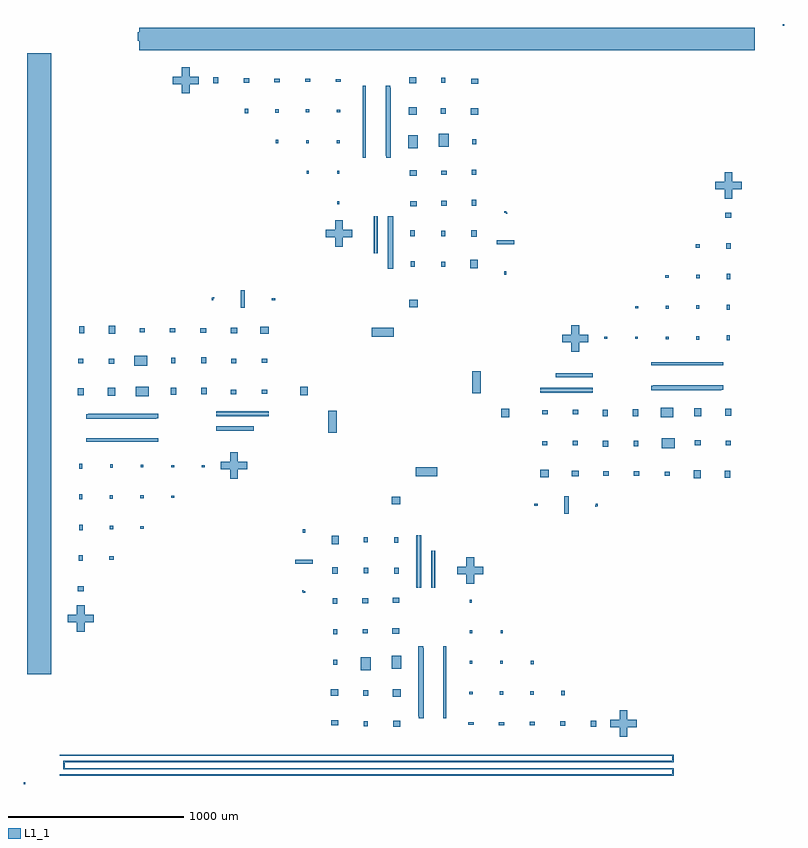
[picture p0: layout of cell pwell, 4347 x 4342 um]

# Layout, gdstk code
import gdstk
lib = gdstk.Library(unit=1e-6, precision=1e-09)
def R(c, l, rs):  # rectangles x0, y0, x1, y1
    for r in rs: c.add(gdstk.rectangle(r[:2], r[2:], *l))
def A(c, l, x, y, w, h, nx, ny, dx, dy):  # array of equal rectangles
    R(c, l, [(x+i*dx, y+j*dy, x+i*dx+w, y+j*dy+h) for i in range(nx) for j in range(ny)])
def P(c, l, *ps):  # polygons
    for p in ps: c.add(gdstk.Polygon(p, *l))
L1_1 = (1, 1)

pwell = lib.new_cell('pwell')
A(pwell, L1_1, 2244, 355, 15, 16, 1, 25, 0, 16)
A(pwell, L1_1, 2371, 355, 9, 16, 1, 25, 0, 16)
A(pwell, L1_1, 2229, 367, 15, 16, 1, 25, 0, 16)
A(pwell, L1_1, 2380, 367, 9, 16, 1, 25, 0, 16)
A(pwell, L1_1, 2216, 1100, 12, 12, 1, 25, 0, 12)
A(pwell, L1_1, 2233, 1100, 12, 12, 1, 25, 0, 12)
A(pwell, L1_1, 2316.5, 1100, 9, 8, 1, 25, 0, 8)
A(pwell, L1_1, 2302.5, 1112, 9, 8, 1, 25, 0, 8)
A(pwell, L1_1, 342, 1936, 16, 9, 25, 1, 16, 0)
A(pwell, L1_1, 330, 1945, 16, 9, 25, 1, 16, 0)
A(pwell, L1_1, 1075, 1999.5, 8, 9, 25, 1, 8, 0)
A(pwell, L1_1, 1087, 2013.5, 8, 9, 25, 1, 8, 0)
A(pwell, L1_1, 330, 2066, 16, 15, 25, 1, 16, 0)
A(pwell, L1_1, 1075, 2080, 12, 12, 25, 2, 12, 17)
A(pwell, L1_1, 342, 2081, 16, 15, 25, 1, 16, 0)
A(pwell, L1_1, 2925, 2216, 12, 12, 25, 2, 12, 17)
A(pwell, L1_1, 3558, 2229, 16, 15, 25, 1, 16, 0)
A(pwell, L1_1, 3570, 2244, 16, 15, 25, 1, 16, 0)
A(pwell, L1_1, 3013, 2302.5, 8, 9, 25, 1, 8, 0)
A(pwell, L1_1, 3025, 2316.5, 8, 9, 25, 1, 8, 0)
A(pwell, L1_1, 3570, 2371, 16, 9, 25, 1, 16, 0)
A(pwell, L1_1, 3558, 2380, 16, 9, 25, 1, 16, 0)
A(pwell, L1_1, 2055, 2925, 12, 12, 1, 25, 0, 12)
A(pwell, L1_1, 2072, 2925, 12, 12, 1, 25, 0, 12)
A(pwell, L1_1, 1988.5, 3013, 9, 8, 1, 25, 0, 8)
A(pwell, L1_1, 1974.5, 3025, 9, 8, 1, 25, 0, 8)
A(pwell, L1_1, 1911, 3558, 9, 16, 1, 25, 0, 16)
A(pwell, L1_1, 2056, 3558, 15, 16, 1, 25, 0, 16)
A(pwell, L1_1, 1920, 3570, 9, 16, 1, 25, 0, 16)
A(pwell, L1_1, 2041, 3570, 15, 16, 1, 25, 0, 16)
R(pwell, L1_1, [(-27,-20,-17,-10), (2084,307.5,2124,342.5), (3214,307.5,3244,342.5), (1916.5,310.5,1940.5,339.5), (3039,312.5,3069,337.5), (1730,315,1770,345), (2864,315,2894,335), (2689,316.5,2719,334), (2514,317.5,2544,333.5), (2232,355,2244,367), (2380,355,2389,367), (2081,479.5,2127,520.5), (1914.5,483.5,1943,517), (1728,484,1772,522), (3044,487.5,3064,512.5), (2869,490,2889,510), (2694,491,2714,508.5), (2519,492,2539,508), (-7,608,132,4155), (1898.5,631,1956,705), (2076,639,2130,712), (1741.5,660.5,1764.5,689.5), (2871.5,665,2886.5,685), (2696.5,666,2711.5,683.5), (2521.5,667,2536.5,683), (2244,755,2256,767), (2371,755,2380,767), (1741.5,834.5,1765.5,865), (2080,839,2120,870.5), (1910,841,1940,865), (2698,841,2710.5,858.5), (2523,842,2535.5,858.5), (1740,1008.5,1766.5,1041.5), (1908,1012,1942,1042), (2081.5,1014.5,2118.5,1044), (2523,1016.5,2534.5,1033.5), (282.5,1081,317.5,1111), (2302.5,1100,2311.5,1112), (1737.5,1181,1769,1219), (2091.5,1182.5,2117,1214.5), (1916.5,1185,1942,1214.5), (1525,1237.5,1625,1262.5), (287.5,1256,312.5,1286), (462.5,1261,487.5,1281), (2316.5,1300,2325.5,1312), (1732.5,1351,1774,1399), (2091.5,1357.5,2114.5,1389.5), (1916.5,1360,1939.5,1389.5), (1569,1415,1581.5,1435), (290,1431,310,1461), (465,1436,485,1456), (640,1438.5,660,1453.5), (3062.5,1525,3087.5,1625), (2890,1569,2910,1581.5), (2075.5,1578,2124.5,1622), (291.5,1606,309,1636), (466,1611,483.5,1631), (641,1613.5,658.5,1628.5), (816,1614.5,833.5,1627), (3803,1728,3841,1772), (3980,1730,4010,1770), (2926,1732.5,2974,1774), (3106,1737.5,3144,1769), (2213,1739.5,2337,1788.5), (3283.5,1740,3316.5,1766.5), (3460,1741.5,3490.5,1765.5), (3635.5,1741.5,3664.5,1764.5), (292.5,1781,308.5,1811), (467,1786,483,1806), (642,1788.5,658,1803.5), (817,1789.5,833.5,1802), (991.5,1790.5,1008.5,1802), (3620,1898.5,3694,1956), (3283,1908,3313,1942), (3460,1910,3484,1940), (3808,1914.5,3841.5,1943), (2935.5,1916.5,2965,1939.5), (3110.5,1916.5,3140,1942), (3985.5,1916.5,4014.5,1940.5), (330,1936,342,1945), (730,1945,742,1954), (1714.5,1988,1763.5,2112), (1275,1999.5,1287,2008.5), (1075,2013.5,1087,2022.5), (730,2069,742,2081), (2703,2075.5,2747,2124.5), (3613,2076,3686,2130), (3454.5,2080,3486,2120), (330,2081,342,2093), (3804.5,2081,3845.5,2127), (3281,2081.5,3310.5,2118.5), (3982.5,2084,4017.5,2124), (2935.5,2091.5,2967.5,2114.5), (3110.5,2091.5,3142.5,2117), (614,2195,687,2249), (454.5,2198,495.5,2244), (1553,2200.5,1597,2249.5), (282.5,2201,317.5,2241), (814,2205,845.5,2245), (989.5,2206.5,1019,2243.5), (1157.5,2208,1189.5,2233.5), (1332.5,2210.5,1364.5,2233.5), (2536.5,2213,2585.5,2337), (3958,2232,3970,2244), (3558,2244,3570,2256), (3213,2302.5,3225,2311.5), (3013,2316.5,3025,2325.5), (606,2369,680,2426.5), (3558,2371,3570,2380), (3958,2380,3970,2389), (458.5,2382,492,2410.5), (987,2383,1017,2417), (1160,2383,1189.5,2408.5), (285.5,2384.5,314.5,2408.5), (816,2385,840,2415), (1335,2385.5,1364.5,2408.5), (3991.5,2514,4007.5,2544), (3817,2519,3833,2539), (3642,2521.5,3658,2536.5), (3291.5,2523,3308.5,2534.5), (3466.5,2523,3483,2535.5), (1963,2536.5,2087,2585.5), (1326,2551,1374,2592.5), (459,2553,497,2597), (290,2555,320,2595), (1156,2556,1194,2587.5), (983.5,2558.5,1016.5,2585), (809.5,2559.5,840,2583.5), (635.5,2560.5,664.5,2583.5), (3991,2689,4008.5,2719), (3816.5,2694,3834,2714), (3641.5,2696.5,3659,2711.5), (3466.5,2698,3484,2710.5), (1212.5,2700,1237.5,2800), (2175.5,2703,2224.5,2747), (1390,2743.5,1410,2756), (3990,2864,4010,2894), (3815,2869,3835,2889), (3640,2871.5,3660,2886.5), (2718.5,2890,2731,2910), (2526,2926,2567.5,2974), (2185.5,2935.5,2208.5,2967.5), (2360.5,2935.5,2383.5,2965), (1974.5,3013,1983.5,3025), (3987.5,3039,4012.5,3069), (3812.5,3044,3837.5,3064), (2675,3062.5,2775,3087.5), (2531,3106,2562.5,3144), (2183,3110.5,2208.5,3142.5), (2358,3110.5,2383.5,3140), (1988.5,3213,1997.5,3225), (3982.5,3214,4017.5,3244), (2181.5,3281,2218.5,3310.5), (2358,3283,2392,3313), (2533.5,3283.5,2560,3316.5), (1765.5,3291.5,1777,3308.5), (2180,3454.5,2220,3486), (2360,3460,2390,3484), (2534.5,3460,2558.5,3490.5), (1589.5,3466.5,1602,3484), (1764.5,3466.5,1777,3483), (1920,3558,1929,3570), (2044,3558,2056,3570), (2170,3613,2224,3686), (2344,3620,2401.5,3694), (2535.5,3635.5,2558.5,3664.5), (1413.5,3640,1428.5,3660), (1588.5,3641.5,1603.5,3659), (1763.5,3642,1778.5,3658), (2528,3803,2572,3841), (2173,3804.5,2219,3845.5), (2357,3808,2385.5,3841.5), (1236,3812.5,1256,3837.5), (1411,3815,1431,3835), (1586,3816.5,1606,3834), (1761,3817,1781,3833), (1911,3958,1920,3970), (2056,3958,2068,3970), (2530,3980,2570,4010), (1056,3982.5,1086,4017.5), (2176,3982.5,2216,4017.5), (2359.5,3985.5,2383.5,4014.5), (1231,3987.5,1261,4012.5), (1406,3990,1436,4010), (1581,3991,1611,4008.5), (1756,3991.5,1786,4007.5), (4310,4312,4320,4322)])
P(pwell, L1_1, [(633,4173),(4150,4173),(4150,4302),(633,4302),(633,4275),(626.5,4275),(626.5,4225),(633,4225)],
  [(2730.5,3238.5),(2736,3238.5),(2736,3244),(2735.5,3244),(2735.5,3244.5),(2735,3244.5),(2735,3245),(2734.5,3245),(2734.5,3245.5),(2734,3245.5),(2734,3246),(2733.5,3246),(2733.5,3246.5),(2733,3246.5),(2733,3247),(2732.5,3247),(2732.5,3247.5),(2732,3247.5),(2732,3252.5),(2718,3252.5),(2718,3242.5),(2727,3242.5),(2727,3242),(2727.5,3242),(2727.5,3241.5),(2728,3241.5),(2728,3241),(2728.5,3241),(2728.5,3240.5),(2729,3240.5),(2729,3240),(2729.5,3240),(2729.5,3239.5),(2730,3239.5),(2730,3239),(2730.5,3239)],
  [(1753,3050),(1797,3050),(1797,3103),(1850,3103),(1850,3147),(1797,3147),(1797,3200),(1753,3200),(1753,3147),(1700,3147),(1700,3103),(1753,3103)],
  [(878,3925),(922,3925),(922,3978),(975,3978),(975,4022),(922,4022),(922,4075),(878,4075),(878,4022),(825,4022),(825,3978),(878,3978)],
  [(1061.5,2755.5),(1061.5,2761),(1056,2761),(1056,2760.5),(1055.5,2760.5),(1055.5,2760),(1055,2760),(1055,2759.5),(1054.5,2759.5),(1054.5,2759),(1054,2759),(1054,2758.5),(1053.5,2758.5),(1053.5,2758),(1053,2758),(1053,2757.5),(1052.5,2757.5),(1052.5,2757),(1047.5,2757),(1047.5,2743),(1057.5,2743),(1057.5,2752),(1058,2752),(1058,2752.5),(1058.5,2752.5),(1058.5,2753),(1059,2753),(1059,2753.5),(1059.5,2753.5),(1059.5,2754),(1060,2754),(1060,2754.5),(1060.5,2754.5),(1060.5,2755),(1061,2755),(1061,2755.5)],
  [(1250,1778),(1250,1822),(1197,1822),(1197,1875),(1153,1875),(1153,1822),(1100,1822),(1100,1778),(1153,1778),(1153,1725),(1197,1725),(1197,1778)],
  [(375,903),(375,947),(322,947),(322,1000),(278,1000),(278,947),(225,947),(225,903),(278,903),(278,850),(322,850),(322,903)],
  [(3238.5,1569.5),(3238.5,1564),(3244,1564),(3244,1564.5),(3244.5,1564.5),(3244.5,1565),(3245,1565),(3245,1565.5),(3245.5,1565.5),(3245.5,1566),(3246,1566),(3246,1566.5),(3246.5,1566.5),(3246.5,1567),(3247,1567),(3247,1567.5),(3247.5,1567.5),(3247.5,1568),(3252.5,1568),(3252.5,1582),(3242.5,1582),(3242.5,1573),(3242,1573),(3242,1572.5),(3241.5,1572.5),(3241.5,1572),(3241,1572),(3241,1571.5),(3240.5,1571.5),(3240.5,1571),(3240,1571),(3240,1570.5),(3239.5,1570.5),(3239.5,1570),(3239,1570),(3239,1569.5)],
  [(3050,2547),(3050,2503),(3103,2503),(3103,2450),(3147,2450),(3147,2503),(3200,2503),(3200,2547),(3147,2547),(3147,2600),(3103,2600),(3103,2547)],
  [(3925,3422),(3925,3378),(3978,3378),(3978,3325),(4022,3325),(4022,3378),(4075,3378),(4075,3422),(4022,3422),(4022,3475),(3978,3475),(3978,3422)],
  [(3687,147),(180,147),(180,140),(3680,140),(3680,112),(201,112),(201,63),(3680,63),(3680,35),(180,35),(180,28),(3687,28),(3687,70),(208,70),(208,105),(3687,105)],
  [(1569.5,1086.5),(1564,1086.5),(1564,1081),(1564.5,1081),(1564.5,1080.5),(1565,1080.5),(1565,1080),(1565.5,1080),(1565.5,1079.5),(1566,1079.5),(1566,1079),(1566.5,1079),(1566.5,1078.5),(1567,1078.5),(1567,1078),(1567.5,1078),(1567.5,1077.5),(1568,1077.5),(1568,1072.5),(1582,1072.5),(1582,1082.5),(1573,1082.5),(1573,1083),(1572.5,1083),(1572.5,1083.5),(1572,1083.5),(1572,1084),(1571.5,1084),(1571.5,1084.5),(1571,1084.5),(1571,1085),(1570.5,1085),(1570.5,1085.5),(1570,1085.5),(1570,1086),(1569.5,1086)],
  [(2547,1275),(2503,1275),(2503,1222),(2450,1222),(2450,1178),(2503,1178),(2503,1125),(2547,1125),(2547,1178),(2600,1178),(2600,1222),(2547,1222)],
  [(3422,400),(3378,400),(3378,347),(3325,347),(3325,303),(3378,303),(3378,250),(3422,250),(3422,303),(3475,303),(3475,347),(3422,347)])

lib.write_gds('pwell.gds')
